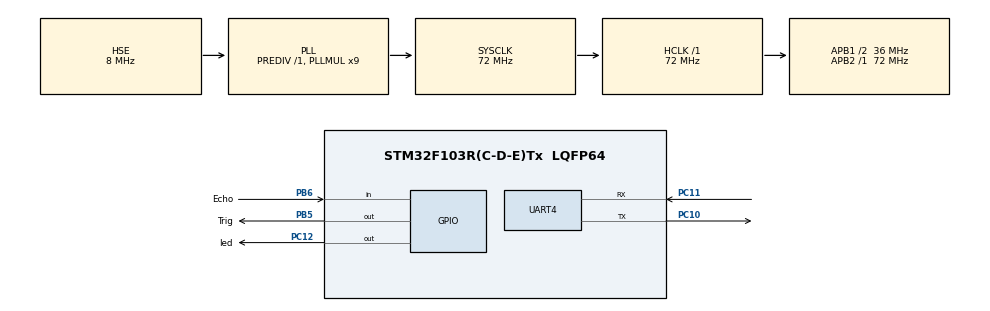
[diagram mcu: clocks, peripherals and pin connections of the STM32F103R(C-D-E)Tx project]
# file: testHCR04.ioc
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Mcu.Family=STM32F1
Mcu.Name=STM32F103R(C-D-E)Tx
Mcu.Package=LQFP64
NVIC.PriorityGroup=NVIC_PRIORITYGROUP_4
PA13.Mode=Serial_Wire
PA13.Signal=SYS_JTMS-SWDIO
PA14.Mode=Serial_Wire
PA14.Signal=SYS_JTCK-SWCLK
PB5.GPIO_Label=Trig
PB5.Signal=GPIO_Output
PB6.GPIO_Label=Echo
PB6.Signal=GPIO_Input
PC10.Mode=Asynchronous
PC10.Signal=UART4_TX
PC11.Mode=Asynchronous
PC11.Signal=UART4_RX
PC12.GPIO_Label=led
PC12.Signal=GPIO_Output
PD0-OSC_IN.Mode=HSE-External-Oscillator
PD0-OSC_IN.Signal=RCC_OSC_IN
PD1-OSC_OUT.Mode=HSE-External-Oscillator
PD1-OSC_OUT.Signal=RCC_OSC_OUT
ProjectManager.HeapSize=0x200
ProjectManager.StackSize=0x400
ProjectManager.TargetToolchain=MDK-ARM V5
RCC.AHBFreq_Value=72000000
RCC.APB1CLKDivider=RCC_HCLK_DIV2
RCC.APB1Freq_Value=36000000
RCC.APB1TimFreq_Value=72000000
RCC.APB2Freq_Value=72000000
RCC.APB2TimFreq_Value=72000000
RCC.HCLKFreq_Value=72000000
RCC.PLLMUL=RCC_PLL_MUL9
RCC.PLLSourceVirtual=RCC_PLLSOURCE_HSE
RCC.SYSCLKFreq_VALUE=72000000
RCC.SYSCLKSource=RCC_SYSCLKSOURCE_PLLCLK
RCC.USBFreq_Value=72000000
UART4.VirtualMode=Asynchronous
board=testHCR04

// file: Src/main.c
/**
  ******************************************************************************
  * File Name          : main.c
  * Description        : Main program body
  ******************************************************************************
  ** This notice applies to any and all portions of this file
  * that are not between comment pairs USER CODE BEGIN and
  * USER CODE END. Other portions of this file, whether
  * inserted by the user or by software development tools
  * are owned by their respective copyright owners.
  *
  * COPYRIGHT(c) 2020 STMicroelectronics
  *
  * Redistribution and use in source and binary forms, with or without modification,
  * are permitted provided that the following conditions are met:
  *   1. Redistributions of source code must retain the above copyright notice,
  *      this list of conditions and the following disclaimer.
  *   2. Redistributions in binary form must reproduce the above copyright notice,
  *      this list of conditions and the following disclaimer in the documentation
  *      and/or other materials provided with the distribution.
  *   3. Neither the name of STMicroelectronics nor the names of its contributors
  *      may be used to endorse or promote products derived from this software
  *      without specific prior written permission.
  *
  * THIS SOFTWARE IS PROVIDED BY THE COPYRIGHT HOLDERS AND CONTRIBUTORS "AS IS"
  * AND ANY EXPRESS OR IMPLIED WARRANTIES, INCLUDING, BUT NOT LIMITED TO, THE
  * IMPLIED WARRANTIES OF MERCHANTABILITY AND FITNESS FOR A PARTICULAR PURPOSE ARE
  * DISCLAIMED. IN NO EVENT SHALL THE COPYRIGHT HOLDER OR CONTRIBUTORS BE LIABLE
  * FOR ANY DIRECT, INDIRECT, INCIDENTAL, SPECIAL, EXEMPLARY, OR CONSEQUENTIAL
  * DAMAGES (INCLUDING, BUT NOT LIMITED TO, PROCUREMENT OF SUBSTITUTE GOODS OR
  * SERVICES; LOSS OF USE, DATA, OR PROFITS; OR BUSINESS INTERRUPTION) HOWEVER
  * CAUSED AND ON ANY THEORY OF LIABILITY, WHETHER IN CONTRACT, STRICT LIABILITY,
  * OR TORT (INCLUDING NEGLIGENCE OR OTHERWISE) ARISING IN ANY WAY OUT OF THE USE
  * OF THIS SOFTWARE, EVEN IF ADVISED OF THE POSSIBILITY OF SUCH DAMAGE.
  *
  ******************************************************************************
  */

#include "main.h"
#include "stm32f1xx_hal.h"

/* USER CODE BEGIN Includes */
#include "dwt_delay.h"
#include "stdio.h"
/* USER CODE END Includes */

UART_HandleTypeDef huart4;

/* USER CODE BEGIN PV */
/* Private variables ---------------------------------------------------------*/
volatile uint32_t sensor_time = 0;
volatile uint16_t local_time = 0;
volatile uint16_t distance =0;
volatile char str[50];
/* USER CODE END PV */

void SystemClock_Config(void);
static void MX_GPIO_Init(void);
static void MX_UART4_Init(void);

/* USER CODE BEGIN PFP */
/* Private function prototypes -----------------------------------------------*/
//void delay ( uint32_t us){
//	__HAL_TIM_SET_COUNTER(&htim3, 0);
//	while( __HAL_TIM_GET_COUNTER(&htim3) < us);
//}
uint32_t getSonar (void) {
	local_time = 0;
	HAL_GPIO_WritePin(Trig_GPIO_Port,Trig_Pin,0);
	DWT_Delay(2);
	HAL_GPIO_WritePin(Trig_GPIO_Port,Trig_Pin,1);
	DWT_Delay(10);
	HAL_GPIO_WritePin(Trig_GPIO_Port,Trig_Pin,0);
	while(!(HAL_GPIO_ReadPin(Echo_GPIO_Port, Echo_Pin)));
	while(HAL_GPIO_ReadPin(Echo_GPIO_Port, Echo_Pin)){
		local_time++;
		DWT_Delay(1);
	}
return local_time;
}
/* USER CODE END PFP */

int main(void)
{

  /* MCU Configuration----------------------------------------------------------*/

  /* Reset of all peripherals, Initializes the Flash interface and the Systick. */
  HAL_Init();

  /* Configure the system clock */
  SystemClock_Config();

  /* Initialize all configured peripherals */
  MX_GPIO_Init();
  MX_UART4_Init();

  /* Infinite loop */
  /* USER CODE BEGIN WHILE */
  while (1)
  {
		sensor_time = getSonar();
		HAL_Delay(10);
		distance  = sensor_time * 0.034;
		sprintf(str,"\n%d",distance);
		HAL_UART_Transmit(&huart4,(uint8_t *)&str,50,100);
			HAL_Delay(100);

		HAL_GPIO_TogglePin(led_GPIO_Port,led_Pin);

  /* USER CODE END WHILE */

  }

}

/** System Clock Configuration
*/
void SystemClock_Config(void)
{

  RCC_OscInitTypeDef RCC_OscInitStruct;
  RCC_ClkInitTypeDef RCC_ClkInitStruct;

    /**Initializes the CPU, AHB and APB busses clocks
    */
  RCC_OscInitStruct.OscillatorType = RCC_OSCILLATORTYPE_HSE;
  RCC_OscInitStruct.HSEState = RCC_HSE_ON;
  RCC_OscInitStruct.HSEPredivValue = RCC_HSE_PREDIV_DIV1;
  RCC_OscInitStruct.HSIState = RCC_HSI_ON;
  RCC_OscInitStruct.PLL.PLLState = RCC_PLL_ON;
  RCC_OscInitStruct.PLL.PLLSource = RCC_PLLSOURCE_HSE;
  RCC_OscInitStruct.PLL.PLLMUL = RCC_PLL_MUL9;
  if (HAL_RCC_OscConfig(&RCC_OscInitStruct) != HAL_OK)
  {
    _Error_Handler(__FILE__, __LINE__);
  }

    /**Initializes the CPU, AHB and APB busses clocks
    */
  RCC_ClkInitStruct.ClockType = RCC_CLOCKTYPE_HCLK|RCC_CLOCKTYPE_SYSCLK
                              |RCC_CLOCKTYPE_PCLK1|RCC_CLOCKTYPE_PCLK2;
  RCC_ClkInitStruct.SYSCLKSource = RCC_SYSCLKSOURCE_PLLCLK;
  RCC_ClkInitStruct.AHBCLKDivider = RCC_SYSCLK_DIV1;
  RCC_ClkInitStruct.APB1CLKDivider = RCC_HCLK_DIV2;
  RCC_ClkInitStruct.APB2CLKDivider = RCC_HCLK_DIV1;

  if (HAL_RCC_ClockConfig(&RCC_ClkInitStruct, FLASH_LATENCY_2) != HAL_OK)
  {
    _Error_Handler(__FILE__, __LINE__);
  }

    /**Configure the Systick interrupt time
    */
  HAL_SYSTICK_Config(HAL_RCC_GetHCLKFreq()/1000);

    /**Configure the Systick
    */
  HAL_SYSTICK_CLKSourceConfig(SYSTICK_CLKSOURCE_HCLK);

  /* SysTick_IRQn interrupt configuration */
  HAL_NVIC_SetPriority(SysTick_IRQn, 0, 0);
}

/* UART4 init function */
static void MX_UART4_Init(void)
{

  huart4.Instance = UART4;
  huart4.Init.BaudRate = 115200;
  huart4.Init.WordLength = UART_WORDLENGTH_8B;
  huart4.Init.StopBits = UART_STOPBITS_1;
  huart4.Init.Parity = UART_PARITY_NONE;
  huart4.Init.Mode = UART_MODE_TX_RX;
  huart4.Init.HwFlowCtl = UART_HWCONTROL_NONE;
  huart4.Init.OverSampling = UART_OVERSAMPLING_16;
  if (HAL_UART_Init(&huart4) != HAL_OK)
  {
    _Error_Handler(__FILE__, __LINE__);
  }

}

/** Configure pins as
        * Analog
        * Input
        * Output
        * EVENT_OUT
        * EXTI
*/
static void MX_GPIO_Init(void)
{

  GPIO_InitTypeDef GPIO_InitStruct;

  /* GPIO Ports Clock Enable */
  __HAL_RCC_GPIOD_CLK_ENABLE();
  __HAL_RCC_GPIOA_CLK_ENABLE();
  __HAL_RCC_GPIOC_CLK_ENABLE();
  __HAL_RCC_GPIOB_CLK_ENABLE();

  /*Configure GPIO pin Output Level */
  HAL_GPIO_WritePin(led_GPIO_Port, led_Pin, GPIO_PIN_RESET);

  /*Configure GPIO pin Output Level */
  HAL_GPIO_WritePin(Trig_GPIO_Port, Trig_Pin, GPIO_PIN_RESET);

  /*Configure GPIO pin : led_Pin */
  GPIO_InitStruct.Pin = led_Pin;
  GPIO_InitStruct.Mode = GPIO_MODE_OUTPUT_PP;
  GPIO_InitStruct.Speed = GPIO_SPEED_FREQ_LOW;
  HAL_GPIO_Init(led_GPIO_Port, &GPIO_InitStruct);

  /*Configure GPIO pin : Trig_Pin */
  GPIO_InitStruct.Pin = Trig_Pin;
  GPIO_InitStruct.Mode = GPIO_MODE_OUTPUT_PP;
  GPIO_InitStruct.Speed = GPIO_SPEED_FREQ_LOW;
  HAL_GPIO_Init(Trig_GPIO_Port, &GPIO_InitStruct);

  /*Configure GPIO pin : Echo_Pin */
  GPIO_InitStruct.Pin = Echo_Pin;
  GPIO_InitStruct.Mode = GPIO_MODE_INPUT;
  GPIO_InitStruct.Pull = GPIO_NOPULL;
  HAL_GPIO_Init(Echo_GPIO_Port, &GPIO_InitStruct);

}

void _Error_Handler(char * file, int line)
{
  while(1)
  {
  }
}

/************************ (C) COPYRIGHT STMicroelectronics *****END OF FILE****/
